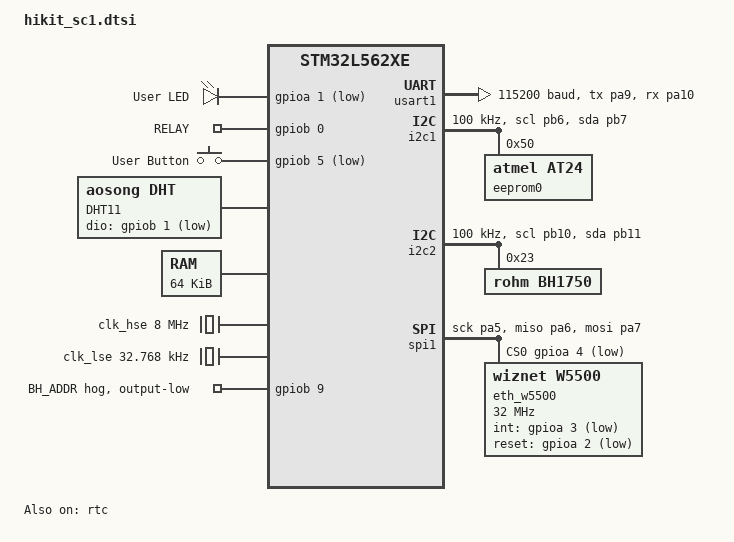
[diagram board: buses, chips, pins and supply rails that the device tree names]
/*
 * Copyright (c) 2022-2023 Marcin Niestroj
 *
 * SPDX-License-Identifier: Apache-2.0
 *
 * Local additions attribution:
 * - Yongci <zhuyongci@hotmail.com>
 * - GitHub Copilot (GPT-5.3-Codex)
 * - Date: 2026-04-09
 */

#include <st/l5/stm32l562Xe.dtsi>
#include <st/l5/stm32l562cetx-pinctrl.dtsi>
#include <freq.h>
#include <zephyr/dt-bindings/gpio/gpio.h>
#include <zephyr/dt-bindings/i2c/i2c.h>
#include <zephyr/dt-bindings/input/input-event-codes.h>
#include <zephyr/dt-bindings/pinctrl/stm32-pinctrl.h>

/ {
	chosen {
		zephyr,console = &usart1;
		zephyr,shell-uart = &usart1;
		zephyr,sram = &sram0;
		zephyr,flash = &flash0;
		zephyr,rtc = &rtc;
		zephyr,code-partition = &slot0_partition;
	};

	leds {
		compatible = "gpio-leds";

		led0: led_0 {
			gpios = <&gpioa 1 (GPIO_ACTIVE_LOW | GPIO_OPEN_DRAIN)>;
			label = "User LED";
		};
	};

	relays {
		compatible = "gpio-leds";

		relay: relay_0 {
			gpios = <&gpiob 0 GPIO_ACTIVE_HIGH>;
			label = "RELAY";
		};
	};

	buttons {
		compatible = "gpio-keys";

		button0: button_0 {
			gpios = <&gpiob 5 (GPIO_PULL_UP | GPIO_ACTIVE_LOW)>;
			label = "User Button";
			zephyr,code = <INPUT_KEY_0>;
		};
	};

	dht11: dht11 {
		compatible = "aosong,dht";
		dio-gpios = <&gpiob 1 (GPIO_PULL_UP | GPIO_ACTIVE_LOW)>;
		label = "DHT11";
		status = "okay";
	};

	aliases {
		led0 = &led0;
		relay = &relay;
		sw0 = &button0;
		dht0 = &dht11;
	};

	/* Dedicated extra SRAM region for retention/secure buffers. */
	sram1: memory@20030000 {
		compatible = "zephyr,memory-region", "mmio-sram";
		reg = <0x20030000 DT_SIZE_K(64)>;
		zephyr,memory-region = "SRAM1";
	};
};

&clk_hse {
	clock-frequency = <DT_FREQ_M(8)>;
	status = "okay";
};

&clk_lse {
	clock-frequency = <32768>;
	driving-capability = <0>;
	status = "okay";
};

&pll {
	div-m = <2>;
	mul-n = <55>;
	div-p = <7>;
	div-q = <2>;
	div-r = <2>;
	clocks = <&clk_hse>;
	status = "okay";
};

&rcc {
	clocks = <&pll>;
	clock-frequency = <DT_FREQ_M(110)>;
	ahb-prescaler = <1>;
	apb1-prescaler = <1>;
	apb2-prescaler = <1>;
};

&rtc {
	clocks = <&rcc STM32_CLOCK(APB1, 10)>,
		 <&rcc STM32_SRC_LSE RTC_SEL(1)>;
	status = "okay";
};

&usart1 {
	current-speed = <115200>;
	pinctrl-0 = <&usart1_tx_pa9 &usart1_rx_pa10>;
	pinctrl-names = "default";
	status = "okay";
};

&i2c1 {
	pinctrl-0 = <&i2c1_scl_pb6 &i2c1_sda_pb7>;
	pinctrl-names = "default";
	clock-frequency = <I2C_BITRATE_STANDARD>;
	status = "okay";

	eeprom0: eeprom@50 {
		compatible = "atmel,at24";
		reg = <0x50>;
		size = <256>;
		pagesize = <8>;
		address-width = <8>;
		timeout = <5>;
		status = "okay";

		nvmem-layout {
			compatible = "fixed-layout";
			#address-cells = <1>;
			#size-cells = <1>;

			mac_address: mac-address@0 {
				reg = <0x0 0x6>;
				#nvmem-cell-cells = <0>;
			};
		};
	};
};

&i2c2 {
	pinctrl-0 = <&i2c2_scl_pb10 &i2c2_sda_pb11>;
	pinctrl-names = "default";
	clock-frequency = <I2C_BITRATE_STANDARD>;
	status = "okay";

	bh1750: bh1750@23 {
		compatible = "rohm,bh1750";
		reg = <0x23>;
		status = "okay";
	};
};

&spi1 {
	pinctrl-0 = <&spi1_sck_pa5 &spi1_miso_pa6 &spi1_mosi_pa7>;
	pinctrl-names = "default";
	cs-gpios = <&gpioa 4 GPIO_ACTIVE_LOW>;
	status = "okay";

	eth_w5500: ethernet@0 {
		compatible = "wiznet,w5500";
		reg = <0x0>;
		spi-max-frequency = <DT_FREQ_M(32)>;
		int-gpios = <&gpioa 3 GPIO_ACTIVE_LOW>;
		reset-gpios = <&gpioa 2 GPIO_ACTIVE_LOW>;
		nvmem-cells = <&mac_address>;
		nvmem-cell-names = "mac-address";
		status = "okay";
	};
};

&gpiob {
	bh_addr: bh_addr {
		gpio-hog;
		gpios = <9 GPIO_ACTIVE_HIGH>;
		output-low;
		line-name = "BH_ADDR";
	};
};

&pinctrl {
	led0_pa1_od: led0_pa1_od {
		pinmux = <STM32_PINMUX('A', 1, GPIO)>;
		drive-open-drain;
		bias-disable;
		slew-rate = "low-speed";
		output-high;
	};
};

&flash0 {
	partitions {
		compatible = "fixed-partitions";
		#address-cells = <1>;
		#size-cells = <1>;

		boot_partition: partition@0 {
			label = "mcuboot";
			reg = <0x00000000 DT_SIZE_K(48)>;
		};

		slot0_partition: partition@c000 {
			label = "image-0";
			reg = <0x0000c000 DT_SIZE_K(228)>;
		};

		slot1_partition: partition@45000 {
			label = "image-1";
			reg = <0x00045000 DT_SIZE_K(230)>;
		};

		storage_partition: partition@7e800 {
			label = "storage";
			reg = <0x0007e800 DT_SIZE_K(6)>;
		};
	};
};

&sram0 {
	compatible = "mmio-sram";
	reg = <0x20000000 DT_SIZE_K(192)>;
	/delete-property/ zephyr,memory-region;
};
